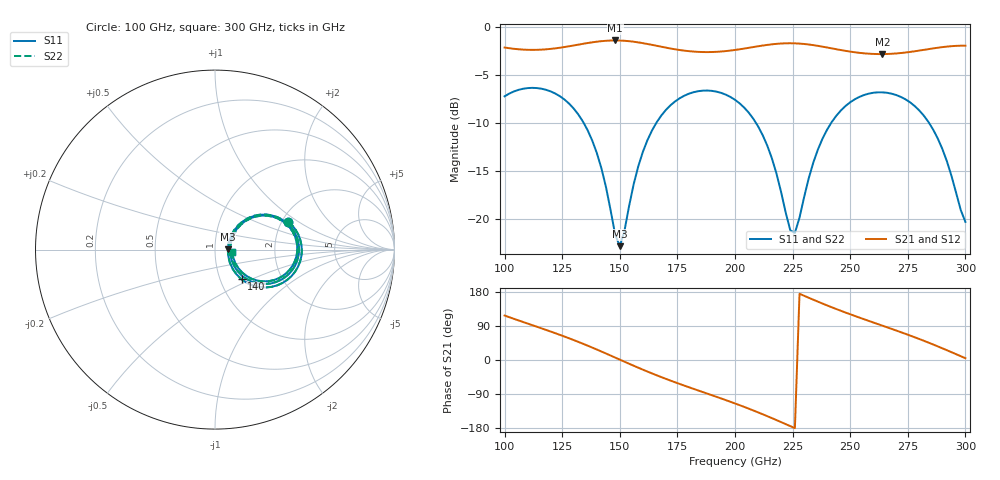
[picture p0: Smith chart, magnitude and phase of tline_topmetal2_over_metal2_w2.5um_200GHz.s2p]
#  GHZ S DB R 50
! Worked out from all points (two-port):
!   101 points, 100 GHz to 300 GHz, reference 50 ohm
!   highest |S21| = -1.36 dB at 148 GHz (marker M1); lowest = -2.8 dB at 264 GHz (marker M2)
!   |S21| within 3 dB of the highest: start of sweep to end of sweep
!   lowest |S11| = -22.8 dB at 150 GHz (marker M3), VSWR 1.16, Z = 57.8 + j0.173 ohm
!   |S11| at or under -10 dB: 134.4 GHz to 165.8 GHz (31.38 GHz wide, 20.9 % of centre); 209.2 GHz to 241.7 GHz (32.5 GHz wide, 14.4 % of centre); 284.3 GHz to end of sweep
!   |S22| runs from -23.0 to -6.3 dB; largest |S21 - S12| = 9.1e-14
!   S11 on the Smith chart (normalised r, x): 100 GHz: 2.16, +0.83; 140 GHz: 1.26, -0.44; 300 GHz: 1.21, -0.03
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100  -7.19 20.9  -2.10 117.4  -2.10 117.4  -7.19 21.0
116  -6.40 -8.0  -2.32 83.6  -2.32 83.6  -6.40 -8.0
126  -7.53 -26.2  -2.04 61.8  -2.04 61.8  -7.53 -26.2
134  -9.83 -40.3  -1.71 42.9  -1.71 42.9  -9.83 -40.4
140  -13.09 -48.2  -1.49 27.7  -1.49 27.7  -13.10 -48.4
148  -21.64 -26.2  -1.36 6.4  -1.36 6.4  -21.73 -26.6
150  -22.83 1.2  -1.37 1.0  -1.37 1.0  -22.97 1.2
158  -14.51 46.2  -1.56 -20.3  -1.56 -20.3  -14.54 46.6
168  -9.20 34.2  -2.01 -45.1  -2.01 -45.1  -9.21 34.4
184  -6.66 6.2  -2.55 -80.4  -2.55 -80.4  -6.66 6.5
200  -7.55 -21.8  -2.35 -114.7  -2.35 -114.7  -7.56 -21.5
214  -12.33 -43.0  -1.82 -148.2  -1.82 -148.2  -12.32 -42.6
224  -21.17 -14.7  -1.65 -174.5  -1.65 -174.5  -21.02 -14.2
226  -21.44 9.1  -1.66 -179.9  -1.66 -179.9  -21.26 9.1
234  -14.10 44.1  -1.85 159.0  -1.85 159.0  -14.06 43.7
246  -8.66 29.9  -2.36 129.7  -2.36 129.7  -8.65 29.7
264  -6.77 -0.6  -2.78 90.6  -2.78 90.6  -6.77 -0.7
268  -6.92 -7.4  -2.75 82.0  -2.75 82.0  -6.91 -7.5
278  -8.20 -24.2  -2.49 60.0  -2.49 60.0  -8.21 -24.4
286  -10.66 -36.1  -2.19 40.9  -2.19 40.9  -10.66 -36.3
292  -13.99 -40.1  -2.00 25.7  -2.00 25.7  -14.01 -40.4
300  -20.29 -7.2  -1.90 4.7  -1.90 4.7  -20.39 -7.4
